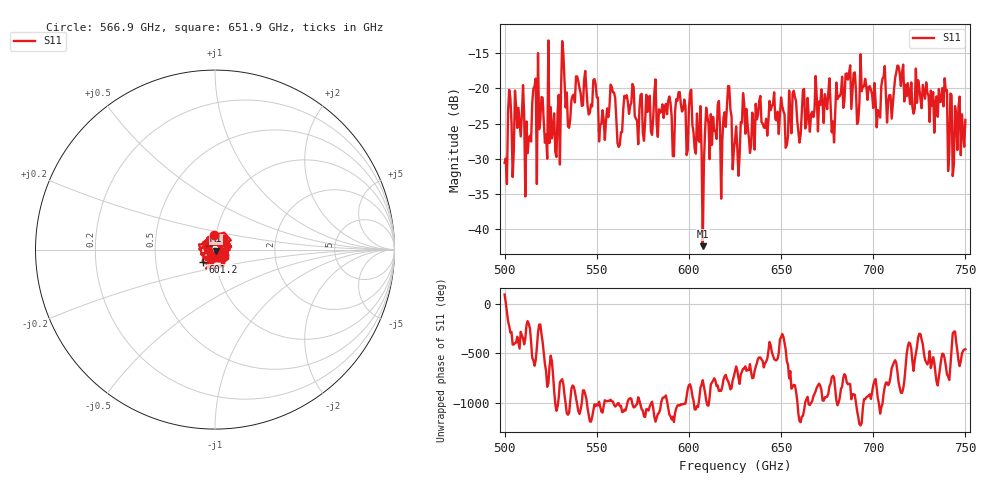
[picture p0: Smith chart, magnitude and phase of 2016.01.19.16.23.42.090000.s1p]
!Created with skrf (http://scikit-rf.org).
# GHz S RI R 50.0
!freq ReS11 ImS11
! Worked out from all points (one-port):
!   401 points, 500 GHz to 750 GHz, reference 50 ohm
!   lowest |S11| = -42.4 dB at 607.5 GHz (marker M1), VSWR 1.02, Z = 50.5 - j0.609 ohm
!   |S11| at or under -10 dB: start of sweep to end of sweep
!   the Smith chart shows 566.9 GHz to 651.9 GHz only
!   S11 on the Smith chart (normalised r, x): 566.9 GHz: 0.97, +0.16; 601.2 GHz: 0.86, -0.12; 651.9 GHz: 1.12, -0.07
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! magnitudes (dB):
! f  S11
! 500 GHz  -30.5
! 502.5 GHz  -20.2
! 512.5 GHz  -29.2
! 516.9 GHz  -18.6
! 528.8 GHz  -23.5
! 531.2 GHz  -13.3
! 534.4 GHz  -25.4
! 549.4 GHz  -19.4
! 552.5 GHz  -25.1
! 558.8 GHz  -20.6
! 562.5 GHz  -28.0
! 566.9 GHz  -22.0
! 591.2 GHz  -29.6
! 593.8 GHz  -21.8
! 601.2 GHz  -20.2
! 607.5 GHz  -42.4
! 621.9 GHz  -19.7
! 625 GHz  -27.4
! 630 GHz  -22.2
! 651.9 GHz  -23.7
! 656.2 GHz  -20.8
! 675 GHz  -23.0
! 678.1 GHz  -24.7
! 687.5 GHz  -16.8
! 702.5 GHz  -23.1
! 705.6 GHz  -18.4
! 718.8 GHz  -19.3
! 750 GHz  -24.5
